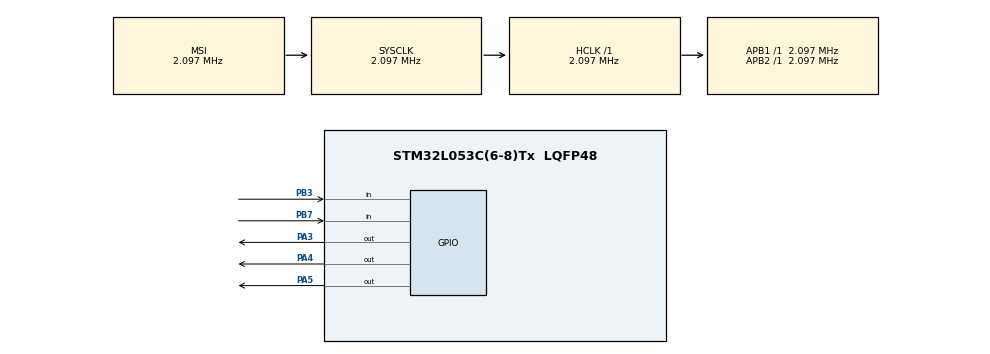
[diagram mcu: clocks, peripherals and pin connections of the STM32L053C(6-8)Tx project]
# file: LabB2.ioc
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Mcu.Family=STM32L0
Mcu.Name=STM32L053C(6-8)Tx
Mcu.Package=LQFP48
PA3.Signal=GPIO_Output
PA4.Signal=GPIO_Output
PA5.Signal=GPIO_Output
PB3.GPIO_PuPd=GPIO_PULLUP
PB3.Signal=GPIO_Input
PB7.GPIO_PuPd=GPIO_PULLDOWN
PB7.Signal=GPIO_Input
ProjectManager.HeapSize=0x200
ProjectManager.StackSize=0x400
ProjectManager.TargetToolchain=TrueSTUDIO
RCC.AHBFreq_Value=2097000
RCC.APB1Freq_Value=2097000
RCC.APB1TimFreq_Value=2097000
RCC.APB2Freq_Value=2097000
RCC.APB2TimFreq_Value=2097000
RCC.HSE_VALUE=8000000
RCC.HSI16_VALUE=16000000
RCC.HSI48_VALUE=48000000
RCC.HSI_VALUE=16000000
RCC.LSE_VALUE=32768
RCC.MSI_VALUE=2097000
RCC.SYSCLKFreq_VALUE=2097000
RCC.VCOOutputFreq_Value=48000000
board=custom

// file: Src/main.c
/**
  ******************************************************************************
  * @file           : main.c
  * @brief          : Main program body
  ******************************************************************************
  ** This notice applies to any and all portions of this file
  * that are not between comment pairs USER CODE BEGIN and
  * USER CODE END. Other portions of this file, whether
  * inserted by the user or by software development tools
  * are owned by their respective copyright owners.
  *
  * COPYRIGHT(c) 2018 STMicroelectronics
  *
  * Redistribution and use in source and binary forms, with or without modification,
  * are permitted provided that the following conditions are met:
  *   1. Redistributions of source code must retain the above copyright notice,
  *      this list of conditions and the following disclaimer.
  *   2. Redistributions in binary form must reproduce the above copyright notice,
  *      this list of conditions and the following disclaimer in the documentation
  *      and/or other materials provided with the distribution.
  *   3. Neither the name of STMicroelectronics nor the names of its contributors
  *      may be used to endorse or promote products derived from this software
  *      without specific prior written permission.
  *
  * THIS SOFTWARE IS PROVIDED BY THE COPYRIGHT HOLDERS AND CONTRIBUTORS "AS IS"
  * AND ANY EXPRESS OR IMPLIED WARRANTIES, INCLUDING, BUT NOT LIMITED TO, THE
  * IMPLIED WARRANTIES OF MERCHANTABILITY AND FITNESS FOR A PARTICULAR PURPOSE ARE
  * DISCLAIMED. IN NO EVENT SHALL THE COPYRIGHT HOLDER OR CONTRIBUTORS BE LIABLE
  * FOR ANY DIRECT, INDIRECT, INCIDENTAL, SPECIAL, EXEMPLARY, OR CONSEQUENTIAL
  * DAMAGES (INCLUDING, BUT NOT LIMITED TO, PROCUREMENT OF SUBSTITUTE GOODS OR
  * SERVICES; LOSS OF USE, DATA, OR PROFITS; OR BUSINESS INTERRUPTION) HOWEVER
  * CAUSED AND ON ANY THEORY OF LIABILITY, WHETHER IN CONTRACT, STRICT LIABILITY,
  * OR TORT (INCLUDING NEGLIGENCE OR OTHERWISE) ARISING IN ANY WAY OUT OF THE USE
  * OF THIS SOFTWARE, EVEN IF ADVISED OF THE POSSIBILITY OF SUCH DAMAGE.
  *
  ******************************************************************************
  */
#include "main.h"
#include "stm32l0xx_hal.h"

/* USER CODE BEGIN PV */
/* Private variables ---------------------------------------------------------*/

/* USER CODE END PV */

void SystemClock_Config(void);
static void MX_GPIO_Init(void);

/* USER CODE BEGIN PFP */
/* Private function prototypes -----------------------------------------------*/

/* USER CODE END PFP */

int main(void)
{

  /* MCU Configuration----------------------------------------------------------*/

  /* Reset of all peripherals, Initializes the Flash interface and the Systick. */
  HAL_Init();

  /* Configure the system clock */
  SystemClock_Config();

  /* Initialize all configured peripherals */
  MX_GPIO_Init();

  /* Infinite loop */
  /* USER CODE BEGIN WHILE */
  while (1)
  {
	  if((HAL_GPIO_ReadPin(GPIOB,GPIO_PIN_3) == GPIO_PIN_RESET) && (HAL_GPIO_ReadPin(GPIOB,GPIO_PIN_7) == GPIO_PIN_SET)){
	  		  HAL_GPIO_WritePin(GPIOA,GPIO_PIN_3,GPIO_PIN_SET);
	  		  HAL_GPIO_WritePin(GPIOA,GPIO_PIN_4,GPIO_PIN_SET);
	  		  HAL_GPIO_WritePin(GPIOA,GPIO_PIN_5,GPIO_PIN_SET);
	  		  HAL_Delay(100);
	  	  }
	  	  else if(HAL_GPIO_ReadPin(GPIOB,GPIO_PIN_7) == GPIO_PIN_SET){
	  		  HAL_GPIO_WritePin(GPIOA,GPIO_PIN_3,GPIO_PIN_SET);
	  		  HAL_GPIO_WritePin(GPIOA,GPIO_PIN_4,GPIO_PIN_SET);
	  		  HAL_Delay(100);
	  	  }
	  	  else if(HAL_GPIO_ReadPin(GPIOB,GPIO_PIN_3) == GPIO_PIN_RESET){
	  		  HAL_GPIO_WritePin(GPIOA,GPIO_PIN_3,GPIO_PIN_SET);
	  		  HAL_Delay(100);
	  	  }

	  	  HAL_GPIO_WritePin(GPIOA,GPIO_PIN_3,GPIO_PIN_RESET);
	  	  HAL_GPIO_WritePin(GPIOA,GPIO_PIN_4,GPIO_PIN_RESET);
	  	  HAL_GPIO_WritePin(GPIOA,GPIO_PIN_5,GPIO_PIN_RESET);
	  	  HAL_Delay(100);

  /* USER CODE END WHILE */

  }

}

void SystemClock_Config(void)
{

  RCC_OscInitTypeDef RCC_OscInitStruct;
  RCC_ClkInitTypeDef RCC_ClkInitStruct;

    /**Configure the main internal regulator output voltage
    */
  __HAL_PWR_VOLTAGESCALING_CONFIG(PWR_REGULATOR_VOLTAGE_SCALE1);

    /**Initializes the CPU, AHB and APB busses clocks
    */
  RCC_OscInitStruct.OscillatorType = RCC_OSCILLATORTYPE_MSI;
  RCC_OscInitStruct.MSIState = RCC_MSI_ON;
  RCC_OscInitStruct.MSICalibrationValue = 0;
  RCC_OscInitStruct.MSIClockRange = RCC_MSIRANGE_5;
  RCC_OscInitStruct.PLL.PLLState = RCC_PLL_NONE;
  if (HAL_RCC_OscConfig(&RCC_OscInitStruct) != HAL_OK)
  {
    _Error_Handler(__FILE__, __LINE__);
  }

    /**Initializes the CPU, AHB and APB busses clocks
    */
  RCC_ClkInitStruct.ClockType = RCC_CLOCKTYPE_HCLK|RCC_CLOCKTYPE_SYSCLK
                              |RCC_CLOCKTYPE_PCLK1|RCC_CLOCKTYPE_PCLK2;
  RCC_ClkInitStruct.SYSCLKSource = RCC_SYSCLKSOURCE_MSI;
  RCC_ClkInitStruct.AHBCLKDivider = RCC_SYSCLK_DIV1;
  RCC_ClkInitStruct.APB1CLKDivider = RCC_HCLK_DIV1;
  RCC_ClkInitStruct.APB2CLKDivider = RCC_HCLK_DIV1;

  if (HAL_RCC_ClockConfig(&RCC_ClkInitStruct, FLASH_LATENCY_0) != HAL_OK)
  {
    _Error_Handler(__FILE__, __LINE__);
  }

    /**Configure the Systick interrupt time
    */
  HAL_SYSTICK_Config(HAL_RCC_GetHCLKFreq()/1000);

    /**Configure the Systick
    */
  HAL_SYSTICK_CLKSourceConfig(SYSTICK_CLKSOURCE_HCLK);

  /* SysTick_IRQn interrupt configuration */
  HAL_NVIC_SetPriority(SysTick_IRQn, 0, 0);
}

/** Configure pins as
        * Analog
        * Input
        * Output
        * EVENT_OUT
        * EXTI
*/
static void MX_GPIO_Init(void)
{

  GPIO_InitTypeDef GPIO_InitStruct;

  /* GPIO Ports Clock Enable */
  __HAL_RCC_GPIOA_CLK_ENABLE();
  __HAL_RCC_GPIOB_CLK_ENABLE();

  /*Configure GPIO pin Output Level */
  HAL_GPIO_WritePin(GPIOA, GPIO_PIN_3|GPIO_PIN_4|GPIO_PIN_5, GPIO_PIN_RESET);

  /*Configure GPIO pins : PA3 PA4 PA5 */
  GPIO_InitStruct.Pin = GPIO_PIN_3|GPIO_PIN_4|GPIO_PIN_5;
  GPIO_InitStruct.Mode = GPIO_MODE_OUTPUT_PP;
  GPIO_InitStruct.Pull = GPIO_NOPULL;
  GPIO_InitStruct.Speed = GPIO_SPEED_FREQ_LOW;
  HAL_GPIO_Init(GPIOA, &GPIO_InitStruct);

  /*Configure GPIO pin : PB3 */
  GPIO_InitStruct.Pin = GPIO_PIN_3;
  GPIO_InitStruct.Mode = GPIO_MODE_INPUT;
  GPIO_InitStruct.Pull = GPIO_PULLUP;
  HAL_GPIO_Init(GPIOB, &GPIO_InitStruct);

  /*Configure GPIO pin : PB7 */
  GPIO_InitStruct.Pin = GPIO_PIN_7;
  GPIO_InitStruct.Mode = GPIO_MODE_INPUT;
  GPIO_InitStruct.Pull = GPIO_PULLDOWN;
  HAL_GPIO_Init(GPIOB, &GPIO_InitStruct);

}

void _Error_Handler(char *file, int line)
{
  while(1)
  {
  }
}

/************************ (C) COPYRIGHT STMicroelectronics *****END OF FILE****/
